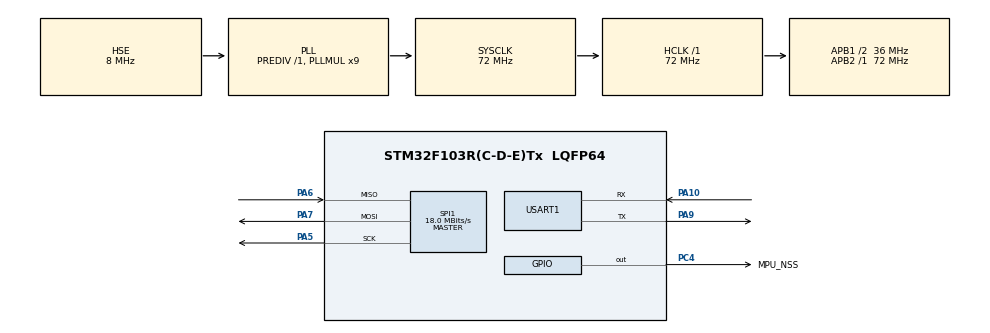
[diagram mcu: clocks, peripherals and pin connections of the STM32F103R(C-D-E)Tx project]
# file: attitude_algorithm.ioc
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Dma.Request0=USART1_RX
Dma.Request1=USART1_TX
Dma.USART1_RX.0.Direction=DMA_PERIPH_TO_MEMORY
Dma.USART1_RX.0.Instance=DMA1_Channel5
Dma.USART1_RX.0.MemDataAlignment=DMA_MDATAALIGN_BYTE
Dma.USART1_RX.0.MemInc=DMA_MINC_ENABLE
Dma.USART1_RX.0.Mode=DMA_CIRCULAR
Dma.USART1_RX.0.PeriphDataAlignment=DMA_PDATAALIGN_BYTE
Dma.USART1_RX.0.PeriphInc=DMA_PINC_DISABLE
Dma.USART1_RX.0.Priority=DMA_PRIORITY_LOW
Dma.USART1_TX.1.Direction=DMA_MEMORY_TO_PERIPH
Dma.USART1_TX.1.Instance=DMA1_Channel4
Dma.USART1_TX.1.MemDataAlignment=DMA_MDATAALIGN_BYTE
Dma.USART1_TX.1.MemInc=DMA_MINC_ENABLE
Dma.USART1_TX.1.Mode=DMA_CIRCULAR
Dma.USART1_TX.1.PeriphDataAlignment=DMA_PDATAALIGN_BYTE
Dma.USART1_TX.1.PeriphInc=DMA_PINC_DISABLE
Dma.USART1_TX.1.Priority=DMA_PRIORITY_LOW
Mcu.Family=STM32F1
Mcu.Name=STM32F103R(C-D-E)Tx
Mcu.Package=LQFP64
NVIC.DMA1_Channel4_IRQn=true\:0\:0\:false\:false\:true\:false\:true\:true
NVIC.DMA1_Channel5_IRQn=true\:0\:0\:false\:false\:true\:false\:true\:true
NVIC.PriorityGroup=NVIC_PRIORITYGROUP_4
NVIC.USART1_IRQn=true\:0\:0\:false\:false\:true\:true\:true\:true
PA10.Mode=Asynchronous
PA10.Signal=USART1_RX
PA13.Mode=Serial_Wire
PA13.Signal=SYS_JTMS-SWDIO
PA14.Mode=Serial_Wire
PA14.Signal=SYS_JTCK-SWCLK
PA5.Mode=Full_Duplex_Master
PA5.Signal=SPI1_SCK
PA6.Mode=Full_Duplex_Master
PA6.Signal=SPI1_MISO
PA7.Mode=Full_Duplex_Master
PA7.Signal=SPI1_MOSI
PA9.Mode=Asynchronous
PA9.Signal=USART1_TX
PC4.GPIO_Label=MPU_NSS
PC4.PinState=GPIO_PIN_SET
PC4.Signal=GPIO_Output
PD0-OSC_IN.Mode=HSE-External-Oscillator
PD0-OSC_IN.Signal=RCC_OSC_IN
PD1-OSC_OUT.Mode=HSE-External-Oscillator
PD1-OSC_OUT.Signal=RCC_OSC_OUT
ProjectManager.HeapSize=0x200
ProjectManager.StackSize=0x400
ProjectManager.TargetToolchain=MDK-ARM V5.32
RCC.AHBFreq_Value=72000000
RCC.APB1CLKDivider=RCC_HCLK_DIV2
RCC.APB1Freq_Value=36000000
RCC.APB1TimFreq_Value=72000000
RCC.APB2Freq_Value=72000000
RCC.APB2TimFreq_Value=72000000
RCC.HCLKFreq_Value=72000000
RCC.PLLMUL=RCC_PLL_MUL9
RCC.PLLSourceVirtual=RCC_PLLSOURCE_HSE
RCC.SYSCLKFreq_VALUE=72000000
RCC.SYSCLKSource=RCC_SYSCLKSOURCE_PLLCLK
RCC.USBFreq_Value=72000000
SPI1.BaudRatePrescaler=SPI_BAUDRATEPRESCALER_4
SPI1.CalculateBaudRate=18.0 MBits/s
SPI1.Direction=SPI_DIRECTION_2LINES
SPI1.Mode=SPI_MODE_MASTER
SPI1.VirtualType=VM_MASTER
USART1.VirtualMode=VM_ASYNC
board=custom

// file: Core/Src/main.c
/* USER CODE BEGIN Header */
/**
  ******************************************************************************
  * @file           : main.c
  * @brief          : Main program body
  ******************************************************************************
  * @attention
  *
  * Copyright (c) 2024 STMicroelectronics.
  * All rights reserved.
  *
  * This software is licensed under terms that can be found in the LICENSE file
  * in the root directory of this software component.
  * If no LICENSE file comes with this software, it is provided AS-IS.
  *
  ******************************************************************************
  */
/* USER CODE END Header */
#include "main.h"
#include "dma.h"
#include "spi.h"
#include "usart.h"
#include "gpio.h"

/* USER CODE BEGIN Includes */
#include "stdio.h"
#include "mpu6500.h"
#include "mahony.h"
#include "bsp_dwt.h"
//#include "Mahony.h"

/* USER CODE END Includes */

/* USER CODE BEGIN PV */
uint32_t DWT_CNT;
float dt;
uint8_t receive_data[30];
char str[31];
int len;

/* USER CODE END PV */

void SystemClock_Config(void);

int main(void)
{

  /* MCU Configuration--------------------------------------------------------*/

  /* Reset of all peripherals, Initializes the Flash interface and the Systick. */
  HAL_Init();

  /* Configure the system clock */
  SystemClock_Config();

  /* Initialize all configured peripherals */
  MX_GPIO_Init();
  MX_DMA_Init();
  MX_SPI1_Init();
  MX_USART1_UART_Init();
  /* USER CODE BEGIN 2 */
	DWT_Init(72);//dwt外设主频72MHz
	__HAL_UART_ENABLE_IT(&huart1, UART_IT_IDLE);
	HAL_UART_Receive_DMA(&huart1, receive_data, 100);//DMA设置
	mpu6500_init();//6500初始化
	Get_MPU6500_Data();//初始化原始数据
	quaternion_init();//初始化四元数
  /* USER CODE END 2 */

  /* Infinite loop */
  /* USER CODE BEGIN WHILE */
  while (1)
  {
		dt = DWT_GetDeltaT(&DWT_CNT);//更新dt

		Get_MPU6500_Data();//更新原始数据

		Mahony_update(dt);//通过Mahony算法更新四元数与欧拉角

		printf("yaw=%f,roll=%f,pitch=%f\r\n",angle[0],angle[1],angle[2]);//输出欧拉角

    /* USER CODE END WHILE */

    /* USER CODE BEGIN 3 */
		HAL_Delay(1);
  }
  /* USER CODE END 3 */
}

void SystemClock_Config(void)
{
  RCC_OscInitTypeDef RCC_OscInitStruct = {0};
  RCC_ClkInitTypeDef RCC_ClkInitStruct = {0};

  /** Initializes the RCC Oscillators according to the specified parameters
  * in the RCC_OscInitTypeDef structure.
  */
  RCC_OscInitStruct.OscillatorType = RCC_OSCILLATORTYPE_HSE;
  RCC_OscInitStruct.HSEState = RCC_HSE_ON;
  RCC_OscInitStruct.HSEPredivValue = RCC_HSE_PREDIV_DIV1;
  RCC_OscInitStruct.HSIState = RCC_HSI_ON;
  RCC_OscInitStruct.PLL.PLLState = RCC_PLL_ON;
  RCC_OscInitStruct.PLL.PLLSource = RCC_PLLSOURCE_HSE;
  RCC_OscInitStruct.PLL.PLLMUL = RCC_PLL_MUL9;
  if (HAL_RCC_OscConfig(&RCC_OscInitStruct) != HAL_OK)
  {
    Error_Handler();
  }

  /** Initializes the CPU, AHB and APB buses clocks
  */
  RCC_ClkInitStruct.ClockType = RCC_CLOCKTYPE_HCLK|RCC_CLOCKTYPE_SYSCLK
                              |RCC_CLOCKTYPE_PCLK1|RCC_CLOCKTYPE_PCLK2;
  RCC_ClkInitStruct.SYSCLKSource = RCC_SYSCLKSOURCE_PLLCLK;
  RCC_ClkInitStruct.AHBCLKDivider = RCC_SYSCLK_DIV1;
  RCC_ClkInitStruct.APB1CLKDivider = RCC_HCLK_DIV2;
  RCC_ClkInitStruct.APB2CLKDivider = RCC_HCLK_DIV1;

  if (HAL_RCC_ClockConfig(&RCC_ClkInitStruct, FLASH_LATENCY_2) != HAL_OK)
  {
    Error_Handler();
  }
}

/* USER CODE BEGIN 4 */
void UART_IDLE_Callback(UART_HandleTypeDef *huart)//留个接收中断
{
 if(__HAL_UART_GET_FLAG(huart,UART_FLAG_IDLE))
 {
  __HAL_UART_CLEAR_IDLEFLAG(huart);
  __HAL_DMA_CLEAR_FLAG(huart,DMA_FLAG_TC5);
	HAL_UART_DMAStop(huart);
  int len=100-__HAL_DMA_GET_COUNTER(huart->hdmarx);
	 HAL_UART_Receive_DMA(&huart1,receive_data,100);//不定长DMA接收
	 for(int i = 0; i < sizeof(receive_data); i++)
	 {
        sprintf(&str[i], "%c", receive_data[i]);
   }
	 str[30] = '\0';
 }
}

/* USER CODE END 4 */

void Error_Handler(void)
{
  __disable_irq();
  while (1)
  {
  }
}
